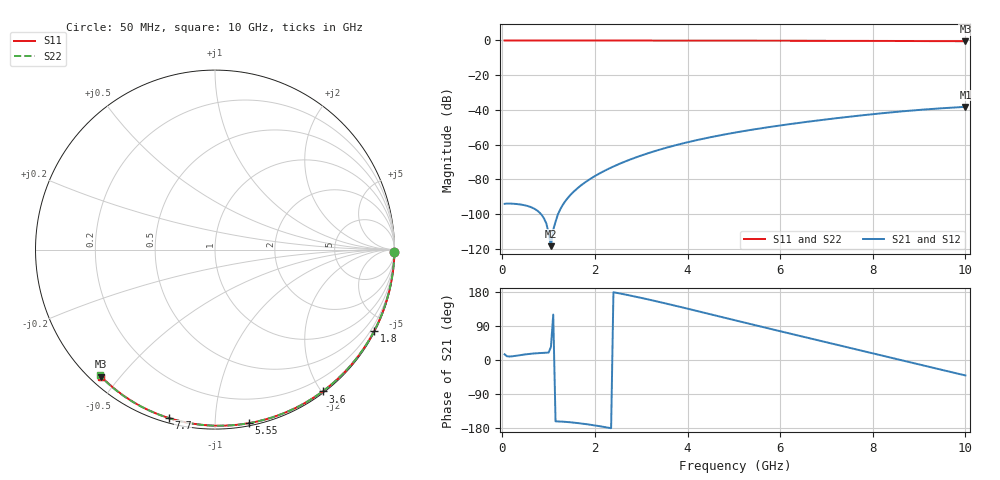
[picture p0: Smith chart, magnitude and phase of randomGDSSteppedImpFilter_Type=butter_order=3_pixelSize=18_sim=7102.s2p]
! freq	dB(S11)	phase(S11)	dB(S12)	phase(S12)
!  dB(S21)	phase(S21)	dB(S22)	phase(S22)
!S-par simulation data
#  GHz  S  DB  R 50
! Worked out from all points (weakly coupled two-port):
!   200 points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, 50 MHz to 10 GHz, reference 50 ohm
!   highest |S21| = -38.28 dB at 10 GHz (marker M1); lowest = -118.6 dB at 1.05 GHz (marker M2)
!   lowest |S11| = -0.4 dB at 10 GHz (marker M3), VSWR 38.95, Z = 1.54 - j22.3 ohm
!   |S11| at or under -10 dB: nowhere
!   |S22| runs from -0.4 to 0.0 dB; largest |S21 - S12| = 0
!   S11 on the Smith chart (normalised r, x): 50 MHz: open; 1.8 GHz: 0.04, -4.16; 3.6 GHz: 0.02, -2.01; 5.55 GHz: 0.02, -1.21; 7.7 GHz: 0.02, -0.76; 10 GHz: 0.03, -0.45
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0.05  -0.00 -0.8  -94.17 15.0  -94.17 15.0  -0.00 -0.8
0.55  -0.01 -8.4  -95.46 15.6  -95.46 15.6  -0.01 -8.4
1.05  -0.02 -15.9  -118.58 34.4  -118.58 34.4  -0.02 -16.0
1.75  -0.03 -26.3  -82.53 -168.2  -82.53 -168.2  -0.03 -26.4
1.8  -0.03 -27.0  -81.57 -169.1  -81.57 -169.1  -0.03 -27.2
1.9  -0.04 -28.5  -79.80 -170.8  -79.80 -170.8  -0.04 -28.7
2.05  -0.04 -30.7  -77.39 -173.6  -77.39 -173.6  -0.04 -30.9
2.25  -0.04 -33.6  -74.56 -177.8  -74.56 -177.8  -0.04 -33.8
2.65  -0.05 -39.4  -69.79 172.9  -69.79 172.9  -0.05 -39.6
3  -0.06 -44.4  -66.32 163.9  -66.32 163.9  -0.06 -44.6
3.4  -0.07 -50.1  -62.92 152.9  -62.92 152.9  -0.07 -50.3
3.6  -0.07 -52.9  -61.41 147.2  -61.41 147.2  -0.07 -53.1
3.9  -0.08 -57.0  -59.33 138.4  -59.33 138.4  -0.08 -57.3
4.3  -0.09 -62.5  -56.87 126.5  -56.87 126.5  -0.09 -62.8
5.05  -0.11 -72.4  -52.98 104.1  -52.98 104.1  -0.11 -72.8
5.55  -0.13 -78.9  -50.78 89.2  -50.78 89.2  -0.13 -79.3
6.1  -0.15 -85.9  -48.62 73.0  -48.62 73.0  -0.15 -86.4
6.7  -0.18 -93.4  -46.49 55.6  -46.49 55.6  -0.18 -93.8
7.7  -0.24 -105.4  -43.35 26.5  -43.35 26.5  -0.24 -105.9
8.35  -0.29 -113.0  -41.57 7.3  -41.57 7.3  -0.28 -113.5
9.2  -0.36 -122.8  -39.63 -17.8  -39.63 -17.8  -0.35 -123.3
10  -0.45 -131.9  -38.28 -40.7  -38.28 -40.7  -0.45 -132.6
